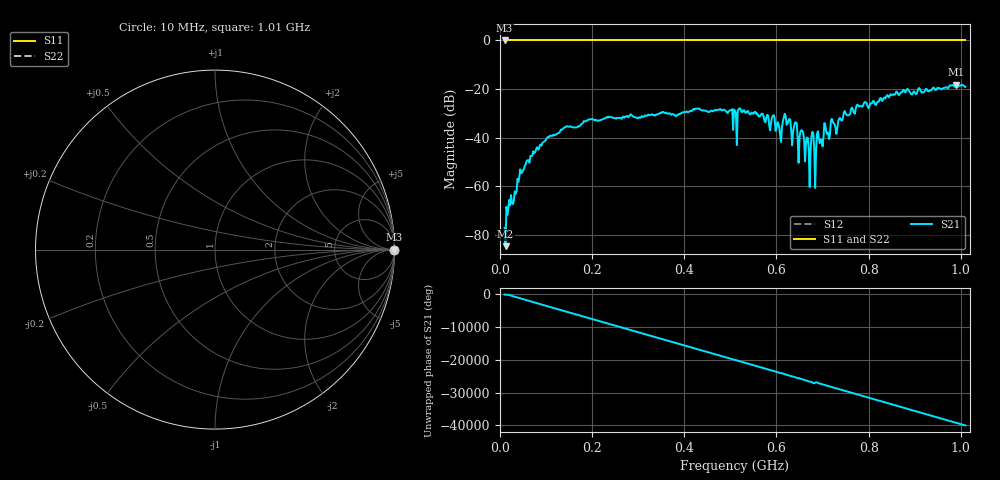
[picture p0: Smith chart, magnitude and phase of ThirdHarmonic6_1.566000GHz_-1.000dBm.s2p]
! 8/16/2025 6:37:02 PM
! C:\ANRITSUVNA\TEMP\TEMP.S2P
! CHANNEL.1
! TR.MEASUREMENT
! RAW.DATA
! RF.CORRECTION.OFF
! AVERAGING.OFF
! IF.BANDWIDTH: 5KHZ
! SWEEPTYPE:  FREQ.SWEEP(Linear)
! Reference Plane Port Info
! PORT:  PORT1  PORT2
! DISTANCE:  0  m  0  m
! TIME:  0  s  0  s
! PHASE.OFFSET:  0  deg.  0  deg.
! LOSS:  0  dB  0  dB
! REF.LOSS:  0  dB  0  dB
! REF.FREQ:  0  Hz  0  Hz
! Power Info
! POWER:  -20  dBm  -20  dBm
! EFF.POWER:  -20  dBm  -20  dBm
! SOURCE.ATTEN:  0  dB  0  dB
! TEST.ATTEN:  0  dB  0  dB
# GHZ S RI R 50.0
! FREQ.GHZ  S11RE  S11IM  S21RE  S21IM  S12RE  S12IM  S22RE  S22IM
!; PortSelection: Port_12
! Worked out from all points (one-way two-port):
!   501 points, 10 MHz to 1.01 GHz, reference 50 ohm
!   highest |S21| = -18.12 dB at 990 MHz (marker M1); lowest = -84.6 dB at 12 MHz (marker M2)
!   lowest |S11| = 0.0 dB at 10 MHz (marker M3)
!   |S11| at or under -10 dB: nowhere
!   |S22| runs from 0.0 to 0.0 dB; largest |S21 - S12| = 1.1
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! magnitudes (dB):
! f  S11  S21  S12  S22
! 10 MHz  0.0  -77.1  0.0  0.0
! 12 MHz  0.0  -84.6  0.0  0.0
! 42 MHz  0.0  -56.2  0.0  0.0
! 70 MHz  0.0  -47.5  0.0  0.0
! 178 MHz  0.0  -34.2  0.0  0.0
! 344 MHz  0.0  -30.3  0.0  0.0
! 500 MHz  0.0  -28.7  0.0  0.0
! 510 MHz  0.0  -29.0  0.0  0.0
! 520 MHz  0.0  -27.9  0.0  0.0
! 592 MHz  0.0  -31.0  0.0  0.0
! 608 MHz  0.0  -39.0  0.0  0.0
! 618 MHz  0.0  -30.1  0.0  0.0
! 642 MHz  0.0  -33.6  0.0  0.0
! 650 MHz  0.0  -39.9  0.0  0.0
! 656 MHz  0.0  -37.1  0.0  0.0
! 670 MHz  0.0  -44.4  0.0  0.0
! 678 MHz  0.0  -37.6  0.0  0.0
! 684 MHz  0.0  -60.7  0.0  0.0
! 722 MHz  0.0  -33.4  0.0  0.0
! 844 MHz  0.0  -23.4  0.0  0.0
! 990 MHz  0.0  -18.1  0.0  0.0
! 1.01 GHz  0.0  -19.1  0.0  0.0
